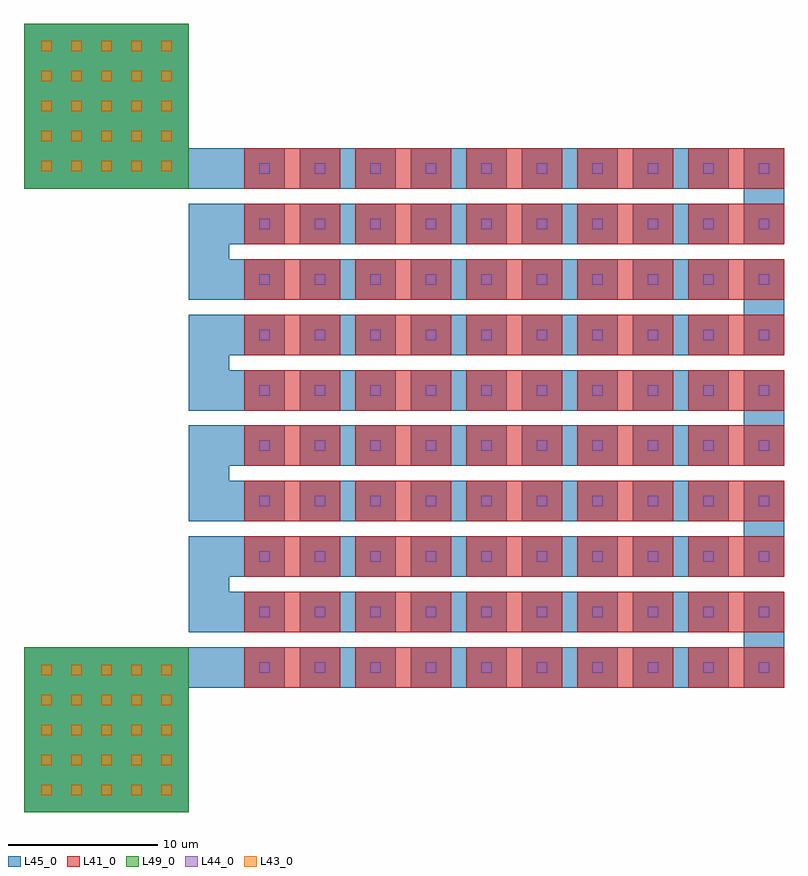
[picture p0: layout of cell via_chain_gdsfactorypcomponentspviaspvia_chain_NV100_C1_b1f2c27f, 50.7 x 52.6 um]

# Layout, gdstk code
import gdstk
lib = gdstk.Library(unit=1e-6, precision=1e-09)
def R(c, l, rs):  # rectangles x0, y0, x1, y1
    for r in rs: c.add(gdstk.rectangle(r[:2], r[2:], *l))
L41_0 = (41, 0)
L43_0 = (43, 0)
L44_0 = (44, 0)
L45_0 = (45, 0)
L49_0 = (49, 0)

via_gdsfactorypcomponent = lib.new_cell('via_gdsfactorypcomponentspviaspvia_S0p7_0p7_E1_LVIA1_BL_0068d91e')
R(via_gdsfactorypcomponent, L44_0, [(-0.35,-0.35,0.35,0.35)])

rectangle_gdsfactorypcom = lib.new_cell('rectangle_gdsfactorypcomponentspshapesprectangle_S6p4_2_cc7211d3')
R(rectangle_gdsfactorypcom, L45_0, [(-3.2,-1.35,3.2,1.35)])

rectangles_gdsfactorypco = lib.new_cell('rectangles_gdsfactorypcomponentspshapesprectangle_S6p4__e4261359')
rectangles_gdsfactorypco.add(gdstk.Reference(rectangle_gdsfactorypcom, (0,0)))

c_rectangle_gdsfactorypcom = lib.new_cell('rectangle_gdsfactorypcomponentspshapesprectangle_S6p4_2_788ba5af')
R(c_rectangle_gdsfactorypcom, L41_0, [(-3.2,-1.35,3.2,1.35)])

c_rectangles_gdsfactorypco = lib.new_cell('rectangles_gdsfactorypcomponentspshapesprectangle_S6p4__6566a68c')
c_rectangles_gdsfactorypco.add(gdstk.Reference(c_rectangle_gdsfactorypcom, (0,0)))

c_rectangle_gdsfactorypcom_ = lib.new_cell('rectangle_gdsfactorypcomponentspshapesprectangle_S2p7_6_ddce550a')
R(c_rectangle_gdsfactorypcom_, L45_0, [(0,0,2.7,6.4)])

compass_gdsfactorypcompo = lib.new_cell('compass_gdsfactorypcomponentspshapespcompass_S11_11_LM2_786eb8ce')
R(compass_gdsfactorypcompo, L45_0, [(-5.5,-5.5,5.5,5.5)])

c_compass_gdsfactorypcompo = lib.new_cell('compass_gdsfactorypcomponentspshapespcompass_S11_11_LM3_4637d102')
R(c_compass_gdsfactorypcompo, L49_0, [(-5.5,-5.5,5.5,5.5)])

c_via_gdsfactorypcomponent = lib.new_cell('via_gdsfactorypcomponentspviaspvia_S0p7_0p7_E1_LVIA2_BL_c51b5ebb')
R(c_via_gdsfactorypcomponent, L43_0, [(-0.35,-0.35,0.35,0.35)])

via_stack_gdsfactorypcom = lib.new_cell('via_stack_gdsfactorypcomponentspviaspvia_stack_S11_11_L_5955c8fd')
via_stack_gdsfactorypcom.add(gdstk.Reference(compass_gdsfactorypcompo, (0,0)))
via_stack_gdsfactorypcom.add(gdstk.Reference(c_compass_gdsfactorypcompo, (0,0)))
r = gdstk.Reference(c_via_gdsfactorypcomponent, (-4,-4)); r.repetition = gdstk.Repetition(5, 5, v1=(2,0), v2=(0,2)); via_stack_gdsfactorypcom.add(r)

via_chain_gdsfactorypcom = lib.new_cell('via_chain_gdsfactorypcomponentspviaspvia_chain_NV100_C1_b1f2c27f')
r = gdstk.Reference(via_gdsfactorypcomponent, (4.05,0.35)); r.repetition = gdstk.Repetition(10, 10, v1=(3.7,0), v2=(0,3.7)); via_chain_gdsfactorypcom.add(r)
r = gdstk.Reference(rectangles_gdsfactorypco, (2.2,0.35)); r.repetition = gdstk.Repetition(5, 10, v1=(7.4,0), v2=(0,3.7)); via_chain_gdsfactorypcom.add(r)
r = gdstk.Reference(c_rectangles_gdsfactorypco, (5.9,0.35)); r.repetition = gdstk.Repetition(5, 10, v1=(7.4,0), v2=(0,3.7)); via_chain_gdsfactorypcom.add(r)
r = gdstk.Reference(c_rectangle_gdsfactorypcom_, (36,-1)); r.repetition = gdstk.Repetition(1, 5, v1=(0,0), v2=(0,7.4)); via_chain_gdsfactorypcom.add(r)
r = gdstk.Reference(c_rectangle_gdsfactorypcom_, (-1,2.7)); r.repetition = gdstk.Repetition(1, 4, v1=(0,0), v2=(0,7.4)); via_chain_gdsfactorypcom.add(r)
via_chain_gdsfactorypcom.add(gdstk.Reference(via_stack_gdsfactorypcom, (-6.5,-3.8)))
via_chain_gdsfactorypcom.add(gdstk.Reference(via_stack_gdsfactorypcom, (-6.5,37.8)))

lib.write_gds('via_chain_gdsfactorypcomponentspviaspvia_chain_NV100_C1_b1f2c27f.gds')
